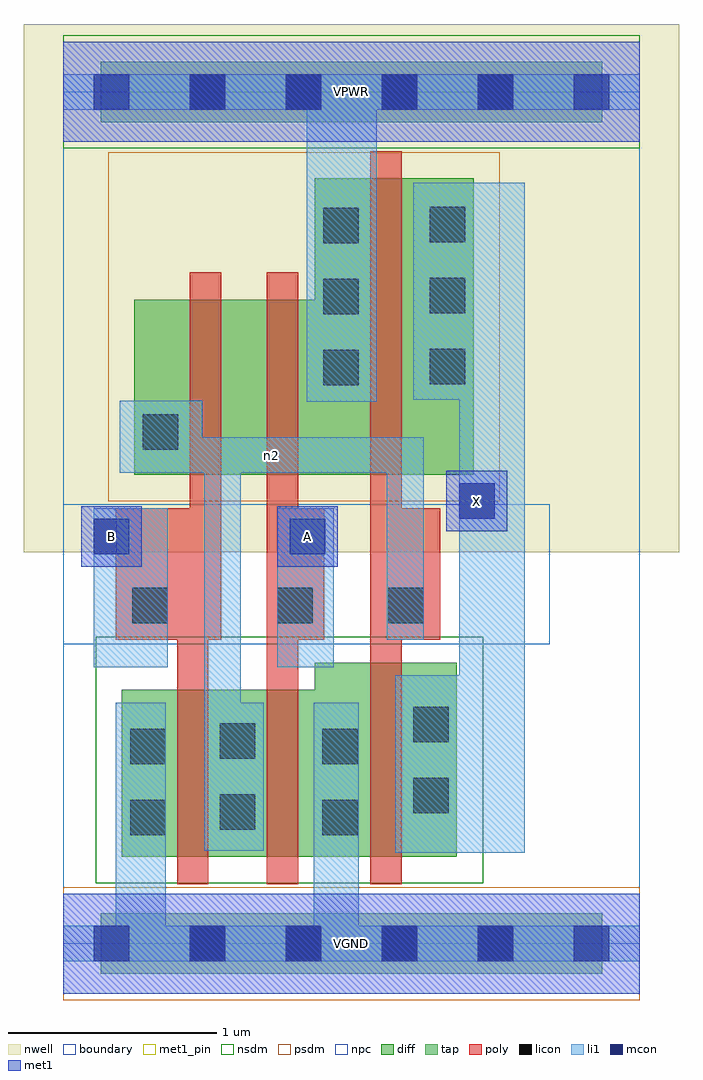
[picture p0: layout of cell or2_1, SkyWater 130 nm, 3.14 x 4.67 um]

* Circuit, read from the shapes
.subckt or2_1 A B VGND VPWR X n2
XM1 n2 B VGND VGND sky130_fd_pr__nfet_01v8 w=0.8 l=0.15
XM2 VGND A n2 VGND sky130_fd_pr__nfet_01v8 w=0.8 l=0.15
XM3 X n2 VGND VGND sky130_fd_pr__nfet_01v8 w=0.93 l=0.15
XM4 n1 B n2 VPWR sky130_fd_pr__pfet_01v8 w=0.84 l=0.15
XM5 VPWR A n1 VPWR sky130_fd_pr__pfet_01v8 w=0.84 l=0.15
XM6 X n2 VPWR VPWR sky130_fd_pr__pfet_01v8 w=1.42 l=0.15
.ends

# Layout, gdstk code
import gdstk
lib = gdstk.Library(unit=1e-6, precision=1e-09)
def R(c, l, rs):  # rectangles x0, y0, x1, y1
    for r in rs: c.add(gdstk.rectangle(r[:2], r[2:], *l))
def A(c, l, x, y, w, h, nx, ny, dx, dy):  # array of equal rectangles
    R(c, l, [(x+i*dx, y+j*dy, x+i*dx+w, y+j*dy+h) for i in range(nx) for j in range(ny)])
nwell = (64, 20)
diff = (65, 20)
tap = (65, 44)
poly = (66, 20)
licon = (66, 44)
li1 = (67, 20)
mcon = (67, 44)
met1_pin = (68, 16)
met1 = (68, 20)
nsdm = (93, 44)
psdm = (94, 20)
npc = (95, 20)
boundary = (235, 4)

or2_1 = lib.new_cell('or2_1')
R(or2_1, nwell, [(-0.19,1.875,2.95,4.405), (0,1.875,2.76,4.405)])
R(or2_1, diff, [(0.28,0.415,1.885,1.215), (1.205,0.415,1.885,1.345), (0.34,2.245,1.965,3.085), (1.205,2.245,1.965,3.665)])
R(or2_1, tap, [(0.18,-0.145,2.58,0.145), (0.18,3.935,2.58,4.225)])
R(or2_1, poly, [(0.545,0.285,0.695,2.085), (0.975,0.285,1.125,3.215), (1.47,0.285,1.62,3.795), (0.25,1.455,0.755,2.085), (0.605,1.455,0.755,3.215), (0.975,1.455,1.25,2.085), (1.47,1.455,1.805,2.085)])
A(or2_1, licon, 0.605, -0.085, 0.17, 0.17, 4, 2, 0.46, 4.08)
A(or2_1, licon, 1.245, 2.675, 0.17, 0.17, 1, 3, 0, 0.34)
A(or2_1, licon, 1.755, 2.68, 0.17, 0.17, 1, 3, 0, 0.34)
R(or2_1, licon, [(0.32,0.52,0.49,0.69), (1.24,0.52,1.41,0.69), (0.75,0.545,0.92,0.715), (1.675,0.625,1.845,0.795), (0.32,0.86,0.49,1.03), (1.24,0.86,1.41,1.03), (0.75,0.885,0.92,1.055), (1.675,0.965,1.845,1.135), (0.33,1.535,0.5,1.705), (1.025,1.535,1.195,1.705), (1.555,1.535,1.725,1.705), (0.38,2.365,0.55,2.535)])
R(or2_1, li1, [(0,-0.085,2.76,0.085), (0.25,-0.085,0.49,1.155), (1.2,-0.085,1.415,1.155), (1.59,0.435,2.21,1.285), (1.895,0.435,2.21,3.645), (0.675,0.445,0.85,2.425), (0.675,0.445,0.96,1.155), (0.145,1.325,0.5,2.085), (1.025,1.325,1.295,2.085), (1.55,1.455,1.725,2.425), (0.27,2.255,1.725,2.425), (0.27,2.255,0.665,2.6), (1.165,2.595,1.5,4.165), (1.675,2.605,2.21,3.645), (0,3.995,2.76,4.165)])
A(or2_1, mcon, 0.145, -0.085, 0.17, 0.17, 6, 2, 0.46, 4.08)
R(or2_1, mcon, [(0.145,1.865,0.315,2.035), (1.085,1.865,1.255,2.035), (1.895,2.035,2.065,2.205)])
R(or2_1, met1_pin, [(0,-0.24,2.76,0.24), (0.085,1.805,0.375,2.095), (1.025,1.805,1.315,2.095), (1.835,1.975,2.125,2.265), (0,3.84,2.76,4.32)])
R(or2_1, met1, [(0,-0.24,2.76,0.24), (0.085,1.805,0.375,2.095), (1.025,1.805,1.315,2.095), (1.835,1.975,2.125,2.265), (0,3.84,2.76,4.32)])
R(or2_1, nsdm, [(0.155,0.29,2.01,1.47), (0,3.81,2.76,4.35)])
R(or2_1, psdm, [(0,-0.27,2.76,0.27), (0.215,2.12,2.09,3.79)])
R(or2_1, npc, [(0,1.435,2.33,2.105)])
R(or2_1, boundary, [(0,0,2.76,4.08)])
or2_1.add(gdstk.Label('n2', (0.997,2.34), layer=67, texttype=5))
or2_1.add(gdstk.Label('A', (1.17,1.95), layer=68, texttype=5))
or2_1.add(gdstk.Label('B', (0.23,1.95), layer=68, texttype=5))
or2_1.add(gdstk.Label('X', (1.98,2.12), layer=68, texttype=5))
or2_1.add(gdstk.Label('VPWR', (1.38,4.08), layer=68, texttype=5))
or2_1.add(gdstk.Label('VGND', (1.38,0), layer=68, texttype=5))
or2_1.add(gdstk.Label('A', (1.17,1.95), layer=68, texttype=16))
or2_1.add(gdstk.Label('B', (0.23,1.95), layer=68, texttype=16))
or2_1.add(gdstk.Label('X', (1.98,2.12), layer=68, texttype=16))
or2_1.add(gdstk.Label('VPWR', (1.38,4.08), layer=68, texttype=16))
or2_1.add(gdstk.Label('VGND', (1.38,0), layer=68, texttype=16))

lib.write_gds('or2_1.gds')
